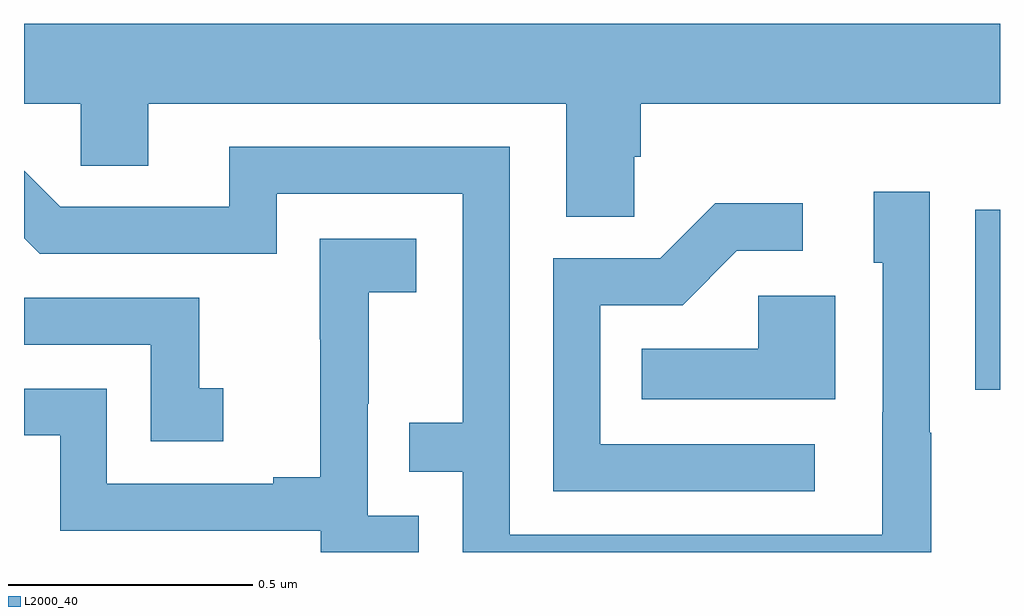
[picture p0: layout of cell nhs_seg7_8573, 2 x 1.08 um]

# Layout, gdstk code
import gdstk
lib = gdstk.Library(unit=1e-6, precision=1e-09)
def R(c, l, rs):  # rectangles x0, y0, x1, y1
    for r in rs: c.add(gdstk.rectangle(r[:2], r[2:], *l))
def P(c, l, *ps):  # polygons
    for p in ps: c.add(gdstk.Polygon(p, *l))
L2000_40 = (2000, 40)

nhs_seg7_8573 = lib.new_cell('nhs_seg7_8573')
R(nhs_seg7_8573, L2000_40, [(227.949,1029.333,228,1029.702)])
P(nhs_seg7_8573, L2000_40, [(227.25,1029.811),(227.264,1029.811),(227.264,1029.92),(228,1029.92),(228,1030.084),(226,1030.084),(226,1029.92),(226.116,1029.92),(226.116,1029.793),(226.255,1029.793),(226.255,1029.92),(227.111,1029.92),(227.111,1029.688),(227.25,1029.688)],
  [(227.859,1029.245),(227.856,1029.245),(227.856,1029.739),(227.741,1029.739),(227.741,1029.594),(227.76,1029.594),(227.76,1029.287),(227.759,1029.287),(227.759,1029.036),(226.995,1029.036),(226.995,1029.831),(226.421,1029.831),(226.421,1029.708),(226.074,1029.708),(226,1029.782),(226,1029.644),(226.032,1029.612),(226.518,1029.612),(226.518,1029.735),(226.899,1029.735),(226.899,1029.266),(226.789,1029.266),(226.789,1029.165),(226.899,1029.165),(226.899,1029),(227.859,1029)],
  [(227.62,1029.222),(227.181,1029.222),(227.181,1029.507),(227.35,1029.507),(227.461,1029.618),(227.596,1029.618),(227.596,1029.716),(227.417,1029.716),(227.304,1029.603),(227.085,1029.603),(227.085,1029.126),(227.62,1029.126)],
  [(226.809,1029.075),(226.704,1029.075),(226.704,1029.305),(226.706,1029.305),(226.706,1029.533),(226.804,1029.533),(226.804,1029.643),(226.606,1029.643),(226.606,1029.437),(226.607,1029.437),(226.607,1029.154),(226.511,1029.154),(226.511,1029.141),(226.17,1029.141),(226.17,1029.336),(226,1029.336),(226,1029.24),(226.074,1029.24),(226.074,1029.045),(226.608,1029.045),(226.608,1029),(226.809,1029)],
  [(227.662,1029.526),(227.505,1029.526),(227.505,1029.418),(227.266,1029.418),(227.266,1029.314),(227.662,1029.314)],
  [(226.408,1029.337),(226.359,1029.337),(226.359,1029.522),(226,1029.522),(226,1029.426),(226.26,1029.426),(226.26,1029.228),(226.408,1029.228)])

lib.write_gds('nhs_seg7_8573.gds')
